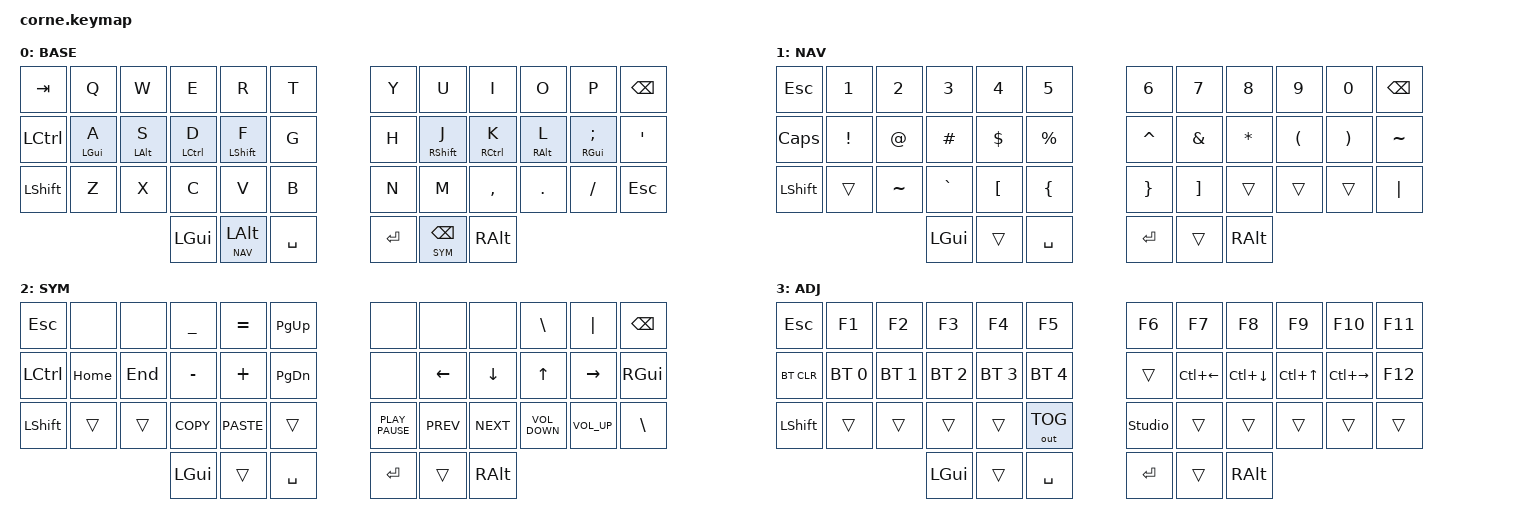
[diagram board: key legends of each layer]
/*
 * Copyright (c) 2020 The ZMK Contributors
 *
 * SPDX-License-Identifier: MIT
 */

#include <behaviors.dtsi>
#include <dt-bindings/zmk/bt.h>
#include <dt-bindings/zmk/keys.h>
#include <dt-bindings/zmk/outputs.h>
#include <zmk-helpers/helper.h>
#include <zmk-helpers/key-labels/42.h>

#define BASE 0
#define NAV  1
#define SYM  2
#define ADJ  3

/* ── Key-position groups (42-key Corne: 6 cols × 3 rows + 3 thumbs/side) ──
 * THUMBS comes from key-labels/42.h (THUMBS_L THUMBS_R); no local override needed. */
#define KEYS_L LT0 LT1 LT2 LT3 LT4 LT5  LM0 LM1 LM2 LM3 LM4 LM5  LB0 LB1 LB2 LB3 LB4 LB5
#define KEYS_R RT0 RT1 RT2 RT3 RT4 RT5  RM0 RM1 RM2 RM3 RM4 RM5  RB0 RB1 RB2 RB3 RB4 RB5

#include "include/hrm.dtsi"

&lt { tapping-term-ms = <150>; };

/* BS Corne bodge
 * &nice_view_spi { cs-gpios = <&pro_micro 16 GPIO_ACTIVE_HIGH>; };
 */

/ {
    conditional_layers {
        compatible = "zmk,conditional-layers";

        tri_layer {
            if-layers = <NAV SYM>;
            then-layer = <ADJ>;
        };
    };

    keymap {
        compatible = "zmk,keymap";

        base {
            // -----------------------------------------------------------------------------------------
            // |  TAB |  Q  |  W  |  E  |  R  |  T  |   |  Y  |  U   |  I  |  O  |  P  | BKSP |
            // | CTRL |  A  |  S  |  D  |  F  |  G  |   |  H  |  J   |  K  |  L  |  ;  |  '   |
            // | SHFT |  Z  |  X  |  C  |  V  |  B  |   |  N  |  M   |  ,  |  .  |  /  | ESC  |
            //                    | GUI | NAV | SPC |   | ENT | SYM  | ALT |

            display-name = "BASE";
            bindings = <
&kp TAB    &kp Q  &kp W  &kp E     &kp R        &kp T        &kp Y    &kp U            &kp I      &kp O    &kp P     &kp BSPC
&kp LCTRL  &hml LGUI A  &hml LALT S  &hml LCTRL D  &hml LSHFT F  &kp G    &kp H  &hmr RSHFT J  &hmr RCTRL K  &hmr RALT L  &hmr RGUI SEMI  &kp SQT
&kp LSHFT  &kp Z  &kp X  &kp C     &kp V        &kp B        &kp N    &kp M            &kp COMMA  &kp DOT  &kp FSLH  &kp ESC
                         &kp LGUI  &lt NAV LALT  &kp SPACE    &kp RET  &lt SYM BACKSPACE  &kp RALT
            >;
        };

        nav {
            display-name = "NAV";
            bindings = <
&kp ESC       &kp N1    &kp N2     &kp N3     &kp N4            &kp N5            &kp N6           &kp N7             &kp N8        &kp N9                &kp N0                 &kp BSPC
&kp CAPSLOCK  &kp EXCL  &kp AT     &kp HASH   &kp DOLLAR        &kp PERCENT       &kp CARET        &kp AMPERSAND      &kp ASTERISK  &kp LEFT_PARENTHESIS  &kp RIGHT_PARENTHESIS  &kp TILDE
&kp LSHFT     &trans    &kp TILDE  &kp GRAVE  &kp LEFT_BRACKET  &kp LEFT_BRACE    &kp RIGHT_BRACE  &kp RIGHT_BRACKET  &trans        &trans                &trans                 &kp PIPE
                                   &kp LGUI   &trans            &kp SPACE         &kp RET          &trans             &kp RALT
            >;
        };

        sym {
            display-name = "SYM";
            bindings = <
&kp ESC    &none     &none    &kp UNDER   &kp EQUAL    &kp PAGE_UP      &none             &none       &none       &kp BACKSLASH      &kp PIPE         &kp BSPC
&kp LCTRL  &kp HOME  &kp END  &kp MINUS   &kp PLUS     &kp PAGE_DOWN    &none             &kp LEFT    &kp DOWN    &kp UP_ARROW       &kp RIGHT        &kp RIGHT_GUI
&kp LSHFT  &trans    &trans   &kp K_COPY  &kp K_PASTE  &trans           &kp K_PLAY_PAUSE  &kp K_PREV  &kp K_NEXT  &kp C_VOLUME_DOWN  &kp C_VOLUME_UP  &kp BACKSLASH
                              &kp LGUI    &trans       &kp SPACE        &kp RET           &trans      &kp RALT
            >;
        };

        adj {
            display-name = "ADJ";
            bindings = <
&kp ESC     &kp F1        &kp F2        &kp F3        &kp F4        &kp F5          &kp F6           &kp F7        &kp F8        &kp F9            &kp F10        &kp F11
&bt BT_CLR  &bt BT_SEL 0  &bt BT_SEL 1  &bt BT_SEL 2  &bt BT_SEL 3  &bt BT_SEL 4    &trans           &kp LC(LEFT)  &kp LC(DOWN)  &kp LC(UP_ARROW)  &kp LC(RIGHT)  &kp F12
&kp LSHFT   &trans        &trans        &trans        &trans        &out OUT_TOG    &studio_unlock   &trans        &trans        &trans            &trans         &trans
                                        &kp LGUI      &trans        &kp SPACE       &kp RET          &trans        &kp RALT
            >;
        };

        extra1 {
            status = "reserved";
        };

        extra2 {
            status = "reserved";
        };

        extra3 {
            status = "reserved";
        }; 

        extra4 {
            status = "reserved";
        }; 
    };
};
